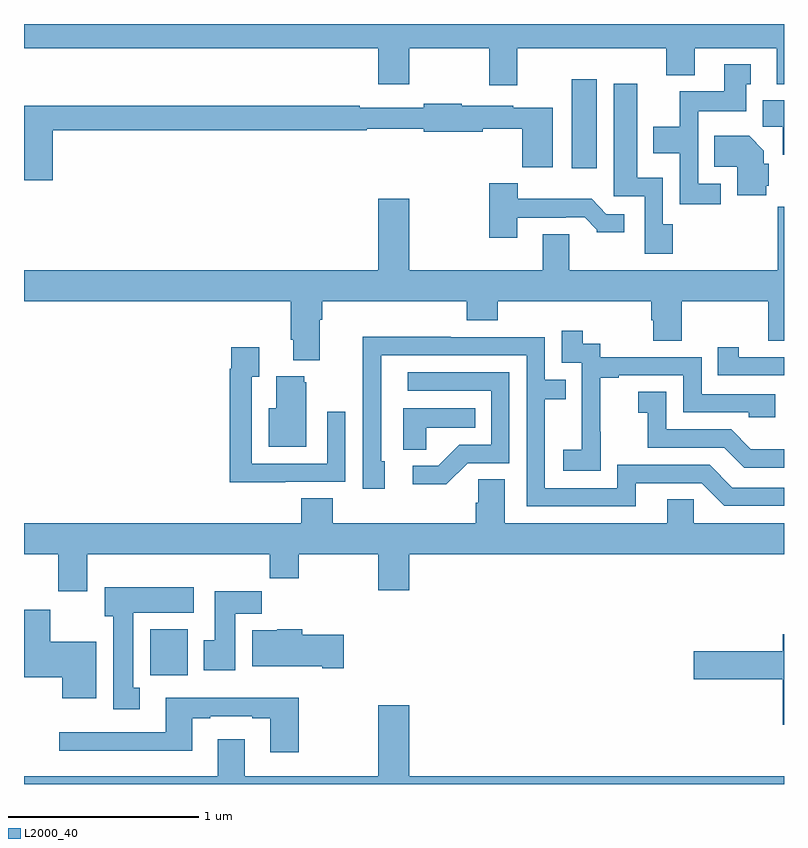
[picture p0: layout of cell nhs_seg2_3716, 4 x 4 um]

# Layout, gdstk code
import gdstk
lib = gdstk.Library(unit=1e-6, precision=1e-09)
def R(c, l, rs):  # rectangles x0, y0, x1, y1
    for r in rs: c.add(gdstk.rectangle(r[:2], r[2:], *l))
def P(c, l, *ps):  # polygons
    for p in ps: c.add(gdstk.Polygon(p, *l))
L2000_40 = (2000, 40)

nhs_seg2_3716 = lib.new_cell('nhs_seg2_3716')
R(nhs_seg2_3716, L2000_40, [(307.664,608.372,307.861,608.614), (309.884,611.04,310.015,611.509)])
P(nhs_seg2_3716, L2000_40, [(307,611.672),(308.864,611.672),(308.864,611.484),(309.028,611.484),(309.028,611.672),(309.448,611.672),(309.448,611.478),(309.595,611.478),(309.595,611.672),(310.379,611.672),(310.379,611.531),(310.531,611.531),(310.531,611.672),(310.961,611.672),(310.961,611.483),(311,611.483),(311,611.8),(307,611.8)],
  [(310.666,610.959),(310.548,610.959),(310.548,611.342),(310.801,611.342),(310.801,611.484),(310.825,611.484),(310.825,611.587),(310.685,611.587),(310.685,611.446),(310.45,611.446),(310.45,611.26),(310.313,611.26),(310.313,611.12),(310.452,611.12),(310.452,610.851),(310.666,610.851)],
  [(310.415,610.746),(310.362,610.746),(310.362,610.99),(310.228,610.99),(310.228,611.485),(310.103,611.485),(310.103,610.893),(310.266,610.893),(310.266,610.59),(310.415,610.59)],
  [(311,611.398),(310.889,611.398),(310.889,611.26),(310.994,611.26),(310.994,611.112),(311,611.112)],
  [(307.151,611.242),(308.804,611.242),(308.804,611.25),(309.104,611.25),(309.104,611.234),(309.414,611.234),(309.414,611.249),(309.622,611.249),(309.622,611.045),(309.784,611.045),(309.784,611.359),(309.576,611.359),(309.576,611.371),(309.304,611.371),(309.304,611.379),(309.104,611.379),(309.104,611.358),(308.768,611.358),(308.768,611.371),(307,611.371),(307,610.977),(307.151,610.977)],
  [(310.907,610.95),(310.92,610.95),(310.92,611.064),(310.894,611.064),(310.894,611.134),(310.816,611.212),(310.633,611.212),(310.633,611.048),(310.754,611.048),(310.754,610.898),(310.907,610.898)],
  [(309.595,610.779),(309.851,610.779),(309.851,610.782),(309.95,610.782),(310.014,610.718),(310.014,610.703),(310.159,610.703),(310.159,610.8),(310.065,610.8),(309.987,610.879),(309.598,610.879),(309.598,610.963),(309.448,610.963),(309.448,610.674),(309.595,610.674)],
  [(308.557,610.244),(308.57,610.244),(308.57,610.34),(309.329,610.34),(309.329,610.241),(309.494,610.241),(309.494,610.34),(310.301,610.34),(310.301,610.242),(310.313,610.242),(310.313,610.132),(310.461,610.132),(310.461,610.34),(310.918,610.34),(310.918,610.132),(311,610.132),(311,610.837),(310.966,610.837),(310.966,610.504),(309.871,610.504),(309.871,610.694),(309.731,610.694),(309.731,610.504),(309.028,610.504),(309.028,610.879),(308.864,610.879),(308.864,610.504),(307,610.504),(307,610.34),(308.405,610.34),(308.405,610.138),(308.417,610.138),(308.417,610.031),(308.557,610.031)],
  [(310.035,609.655),(310.034,609.655),(310.034,609.939),(310.129,609.939),(310.129,609.951),(310.47,609.951),(310.47,609.756),(310.815,609.756),(310.815,609.729),(310.955,609.729),(310.955,609.852),(310.566,609.852),(310.566,610.047),(310.032,610.047),(310.032,610.116),(309.94,610.116),(309.94,610.186),(309.831,610.186),(309.831,610.017),(309.936,610.017),(309.936,609.788),(309.935,609.788),(309.935,609.559),(309.837,609.559),(309.837,609.449),(310.035,609.449)],
  [(310.219,609.384),(310.566,609.384),(310.686,609.264),(311,609.264),(311,609.36),(310.728,609.36),(310.608,609.48),(310.122,609.48),(310.122,609.357),(309.741,609.357),(309.741,609.826),(309.851,609.826),(309.851,609.927),(309.741,609.927),(309.741,610.152),(309.245,610.152),(309.245,610.154),(308.782,610.154),(308.782,609.847),(308.784,609.847),(308.784,609.354),(308.899,609.354),(308.899,609.498),(308.88,609.498),(308.88,610.056),(309.645,610.056),(309.645,609.261),(310.219,609.261)],
  [(308.375,609.39),(308.691,609.39),(308.691,609.76),(308.595,609.76),(308.595,609.486),(308.199,609.486),(308.199,609.943),(308.239,609.943),(308.239,610.099),(308.091,610.099),(308.091,609.986),(308.083,609.986),(308.083,609.389),(308.375,609.389)],
  [(311,610.047),(310.762,610.047),(310.762,610.099),(310.651,610.099),(310.651,609.951),(311,609.951)],
  [(309.336,609.489),(309.555,609.489),(309.555,609.966),(309.021,609.966),(309.021,609.87),(309.459,609.87),(309.459,609.585),(309.29,609.585),(309.179,609.474),(309.045,609.474),(309.045,609.377),(309.223,609.377)],
  [(308.485,609.915),(308.474,609.915),(308.474,609.946),(308.327,609.946),(308.327,609.778),(308.288,609.778),(308.288,609.575),(308.485,609.575)],
  [(311,609.562),(310.826,609.562),(310.722,609.666),(310.38,609.666),(310.38,609.865),(310.233,609.865),(310.233,609.755),(310.282,609.755),(310.282,609.57),(310.685,609.57),(310.79,609.465),(311,609.465)],
  [(309.117,609.674),(309.374,609.674),(309.374,609.778),(308.996,609.778),(308.996,609.559),(309.117,609.559)],
  [(307.333,609.008),(308.293,609.008),(308.293,608.884),(308.445,608.884),(308.445,609.008),(308.864,609.008),(308.864,608.82),(309.028,608.82),(309.028,609.008),(311,609.008),(311,609.172),(310.524,609.172),(310.524,609.299),(310.385,609.299),(310.385,609.172),(309.529,609.172),(309.529,609.404),(309.39,609.404),(309.39,609.281),(309.377,609.281),(309.377,609.172),(308.624,609.172),(308.624,609.305),(308.459,609.305),(308.459,609.172),(307,609.172),(307,609.008),(307.181,609.008),(307.181,608.814),(307.333,608.814)],
  [(307.609,608.306),(307.576,608.306),(307.576,608.702),(307.894,608.702),(307.894,608.836),(307.424,608.836),(307.424,608.682),(307.469,608.682),(307.469,608.193),(307.609,608.193)],
  [(308.113,608.696),(308.252,608.696),(308.252,608.815),(308.003,608.815),(308.003,608.556),(307.946,608.556),(307.946,608.4),(308.113,608.4)],
  [(307.381,608.548),(307.138,608.548),(307.138,608.716),(307,608.716),(307,608.363),(307.202,608.363),(307.202,608.252),(307.381,608.252)],
  [(308.683,608.586),(308.465,608.586),(308.465,608.614),(308.334,608.614),(308.334,608.608),(308.201,608.608),(308.201,608.42),(308.57,608.42),(308.57,608.408),(308.683,608.408)],
  [(311,608.587),(310.994,608.587),(310.994,608.498),(310.524,608.498),(310.524,608.351),(310.994,608.351),(310.994,608.113),(311,608.113)],
  [(308.445,608.254),(307.745,608.254),(307.745,608.073),(307.185,608.073),(307.185,607.976),(307.885,607.976),(307.885,608.145),(307.981,608.145),(307.981,608.157),(308.201,608.157),(308.201,608.145),(308.297,608.145),(308.297,607.968),(308.445,607.968)],
  [(311,607.84),(309.028,607.84),(309.028,608.215),(308.864,608.215),(308.864,607.84),(308.161,607.84),(308.161,608.035),(308.021,608.035),(308.021,607.84),(307,607.84),(307,607.8),(311,607.8)])

lib.write_gds('nhs_seg2_3716.gds')
